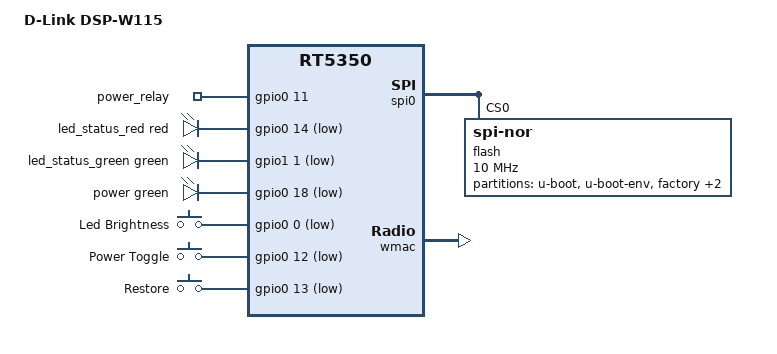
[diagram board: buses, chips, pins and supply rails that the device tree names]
#include "rt5350.dtsi"

#include <dt-bindings/gpio/gpio.h>
#include <dt-bindings/input/input.h>
#include <dt-bindings/leds/common.h>

/ {
	compatible = "dlink,dsp-w115", "ralink,rt5350-soc";
	model = "D-Link DSP-W115";

	aliases {
		led-boot = &led_status_green;
		led-failsafe = &led_status_red;
		led-running = &led_status_green;
		led-upgrade = &led_status_red;
	};

	gpio_export {
		compatible = "gpio-export";

		power_relay {
			gpio-export,name = "power_relay";
			gpio-export,output = <0>;
			gpios = <&gpio0 11 GPIO_ACTIVE_HIGH>;
		};
        };

	leds {
		compatible = "gpio-leds";

		led_status_red: status_red {
			function = LED_FUNCTION_STATUS;
			color = <LED_COLOR_ID_RED>;
			gpios = <&gpio0 14 GPIO_ACTIVE_LOW>;
		};

		led_status_green: status_green {
			function = LED_FUNCTION_STATUS;
			color = <LED_COLOR_ID_GREEN>;
			gpios = <&gpio1 1 GPIO_ACTIVE_LOW>;
		};

		power {
			function = LED_FUNCTION_POWER;
			color = <LED_COLOR_ID_GREEN>;
			gpios = <&gpio0 18 GPIO_ACTIVE_LOW>;
		};
	};

	keys {
		compatible = "gpio-keys";

		brightness_zero {
			label = "Led Brightness";
			gpios = <&gpio0 0 GPIO_ACTIVE_LOW>;
			linux,code = <KEY_BRIGHTNESS_ZERO>;
		};

		power_toggle {
			label = "Power Toggle";
			gpios = <&gpio0 12 GPIO_ACTIVE_LOW>;
			linux,code = <KEY_LIGHTS_TOGGLE>;
		};

		reset {
			label = "Restore";
			gpios = <&gpio0 13 GPIO_ACTIVE_LOW>;
			linux,code = <KEY_RESTART>;
		};
	};
};

&spi0 {
	status = "okay";

	flash@0 {
		compatible = "jedec,spi-nor";
		reg = <0>;
		spi-max-frequency = <10000000>;

		partitions {
			compatible = "fixed-partitions";
			#address-cells = <1>;
			#size-cells = <1>;

			partition@0 {
				label = "u-boot";
				reg = <0x0 0x30000>;
				read-only;
			};

			partition@30000 {
				label = "u-boot-env";
				reg = <0x30000 0x10000>;
				read-only;
			};

			partition@40000 {
				label = "factory";
				reg = <0x40000 0x10000>;
				read-only;

				nvmem-layout {
					compatible = "fixed-layout";
					#address-cells = <1>;
					#size-cells = <1>;

					eeprom_factory_0: eeprom@0 {
						reg = <0x0 0x200>;
					};

					macaddr_factory_4: macaddr@4 {
						reg = <0x4 0x6>;
					};
				};
			};

			partition@50000 {
				compatible = "denx,uimage";
				label = "firmware";
				reg = <0x50000 0x600000>;
			};

			partition@650000 {
				label = "recovery";
				reg = <0x650000 0x1b0000>;
				read-only;
			};
		};
	};
};

&ethernet {
        nvmem-cells = <&macaddr_factory_4>;
        nvmem-cell-names = "mac-address";
};

&wmac {
	nvmem-cells = <&eeprom_factory_0>;
	nvmem-cell-names = "eeprom";
};

&state_default {
	gpio {
		groups = "i2c", "jtag", "uartf", "spi_cs1", "led";
		function = "gpio";
	};
};

&gpio1 {
	status = "okay";
};

